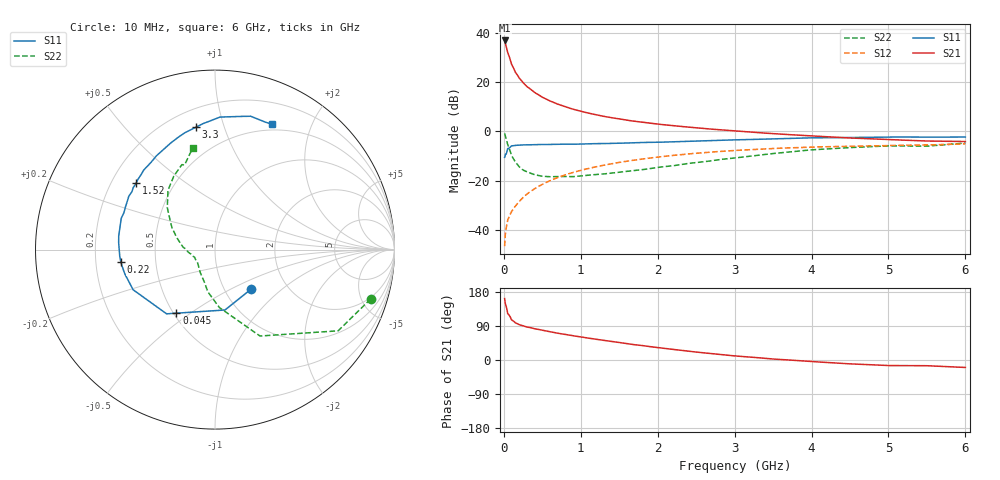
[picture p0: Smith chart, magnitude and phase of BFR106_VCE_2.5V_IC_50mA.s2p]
! Infineon Technologies  Discrete & RF Semiconductors
! BFR106
! VCE =  2.5 V,  IC =  50 mA
! Common Emitter S-Parameters:  Nov 2015
# GHz  S  MA  R  50
!  f  S11  S21  S12  S22
! GHz  MAG  ANG  MAG  ANG  MAG  ANG  MAG  ANG
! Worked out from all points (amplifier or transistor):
!   210 points, 10 MHz to 6 GHz, reference 50 ohm
!   highest |S21| = 36.9 dB at 10 MHz (marker M1)
!   |S21| within 3 dB of that: start of sweep to 35.46 MHz
!   unconditionally stable (mu >= 1): 237.7 MHz to 2.552 GHz; 5.342 GHz to end of sweep
!   at 185 MHz: K = 0.95, MSG = 25.7 dB, |S12| = -29.0 dB
!   at 1.52 GHz: K = 1.05, MAG = 7.3 dB, |S12| = -12.5 dB
!   at 6 GHz: K = 1.00, MAG = 0.1 dB, |S12| = -5.1 dB
!   S11 on the Smith chart (normalised r, x): 10 MHz: 1.33, -0.64; 45 MHz: 0.52, -0.44; 220 MHz: 0.31, -0.06; 1.52 GHz: 0.30, +0.34; 3.3 GHz: 0.31, +0.81; 6 GHz: 0.43, +1.47
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0.01  0.2983 -47.4  69.65 162.2  0.0047 78.4  0.9098 -17.6
0.02  0.341 -80.6  61.77 148.2  0.0084 66.8  0.822 -33.4
0.045  0.4147 -121.3  42.78 128.6  0.0146 60.1  0.576 -55.9
0.05  0.4481 -127.0  39.91 122.7  0.0158 59.4  0.5429 -62.5
0.1  0.5082 -153.9  23.02 105.9  0.0235 60.5  0.3236 -85.7
0.15  0.5203 -164.9  15.81 98.0  0.0305 63.8  0.2385 -99.6
0.2  0.5272 -170.8  12.06 93.3  0.0376 67.6  0.191 -108.0
0.22  0.5287 -172.6  11.1 92.0  0.0408 68.2  0.1797 -111.3
0.26  0.5319 -175.9  9.352 89.2  0.0472 69.2  0.1613 -118.1
0.3  0.5322 -178.1  8.109 87.1  0.0534 70.1  0.1513 -123.0
0.4  0.5381 175.9  6.141 82.5  0.0686 71.0  0.1323 -133.6
0.5  0.5418 171.9  4.92 78.4  0.0841 71.0  0.1229 -141.0
0.6  0.5427 167.8  4.128 74.4  0.1001 70.3  0.1203 -145.9
0.7  0.5458 164.5  3.57 70.7  0.1158 69.7  0.1215 -150.6
1.02  0.5536 153.7  2.509 60.3  0.1649 65.4  0.1256 -161.7
1.52  0.575 139.8  1.771 45.6  0.2373 57.8  0.15 -174.7
2.02  0.6015 126.7  1.393 32.3  0.3031 49.5  0.1874 172.6
3.1  0.6773 102.6  0.992 9.3  0.4172 32.0  0.3008 146.5
3.3  0.6897 99.0  0.944 6.1  0.4335 28.9  0.3271 142.2
4.1  0.7404 86.5  0.792 -5.3  0.4843 17.1  0.4304 126.4
5.1  0.7675 73.9  0.671 -14.7  0.5192 5.0  0.5067 111.0
6  0.7667 65.4  0.622 -19.7  0.5576 -4.2  0.579 102.4
